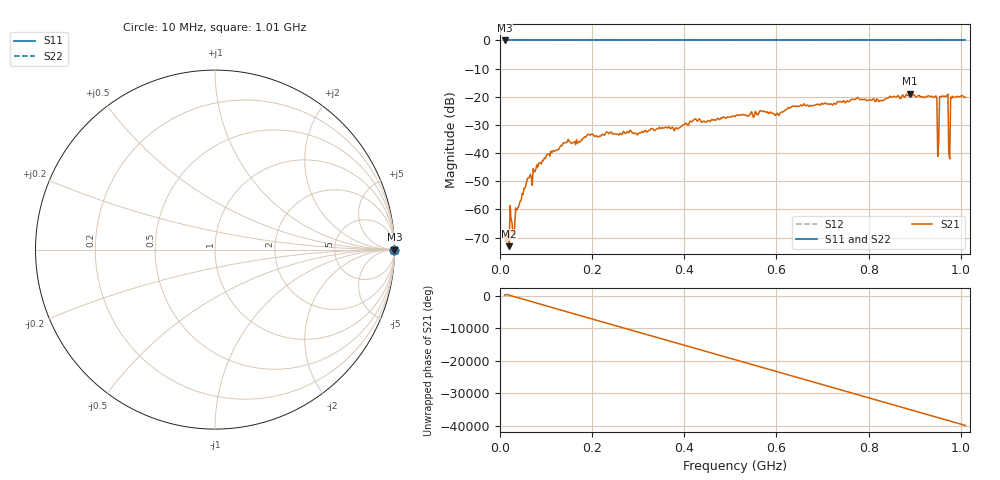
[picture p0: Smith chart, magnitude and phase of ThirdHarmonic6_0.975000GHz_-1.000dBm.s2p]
! 8/16/2025 7:28:07 AM
! C:\ANRITSUVNA\TEMP\TEMP.S2P
! CHANNEL.1
! TR.MEASUREMENT
! RAW.DATA
! RF.CORRECTION.OFF
! AVERAGING.OFF
! IF.BANDWIDTH: 5KHZ
! SWEEPTYPE:  FREQ.SWEEP(Linear)
! Reference Plane Port Info
! PORT:  PORT1  PORT2
! DISTANCE:  0  m  0  m
! TIME:  0  s  0  s
! PHASE.OFFSET:  0  deg.  0  deg.
! LOSS:  0  dB  0  dB
! REF.LOSS:  0  dB  0  dB
! REF.FREQ:  0  Hz  0  Hz
! Power Info
! POWER:  -20  dBm  -20  dBm
! EFF.POWER:  -20  dBm  -20  dBm
! SOURCE.ATTEN:  0  dB  0  dB
! TEST.ATTEN:  0  dB  0  dB
# GHZ S RI R 50.0
! FREQ.GHZ  S11RE  S11IM  S21RE  S21IM  S12RE  S12IM  S22RE  S22IM
!; PortSelection: Port_12
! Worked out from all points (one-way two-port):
!   501 points, 10 MHz to 1.01 GHz, reference 50 ohm
!   highest |S21| = -18.93 dB at 890 MHz (marker M1); lowest = -73.1 dB at 20 MHz (marker M2)
!   lowest |S11| = 0.0 dB at 10 MHz (marker M3)
!   |S11| at or under -10 dB: nowhere
!   |S22| runs from 0.0 to 0.0 dB; largest |S21 - S12| = 1.1
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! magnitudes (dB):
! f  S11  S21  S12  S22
! 10 MHz  0.0  -68.0  0.0  0.0
! 16 MHz  0.0  -69.5  0.0  0.0
! 20 MHz  0.0  -73.1  0.0  0.0
! 30 MHz  0.0  -69.0  0.0  0.0
! 62 MHz  0.0  -48.9  0.0  0.0
! 84 MHz  0.0  -43.6  0.0  0.0
! 178 MHz  0.0  -35.1  0.0  0.0
! 344 MHz  0.0  -31.2  0.0  0.0
! 510 MHz  0.0  -27.1  0.0  0.0
! 678 MHz  0.0  -23.2  0.0  0.0
! 844 MHz  0.0  -20.3  0.0  0.0
! 890 MHz  0.0  -18.9  0.0  0.0
! 944 MHz  0.0  -19.9  0.0  0.0
! 948 MHz  0.0  -20.4  0.0  0.0
! 952 MHz  0.0  -36.6  0.0  0.0
! 954 MHz  0.0  -19.9  0.0  0.0
! 958 MHz  0.0  -20.0  0.0  0.0
! 968 MHz  0.0  -19.8  0.0  0.0
! 972 MHz  0.0  -19.1  0.0  0.0
! 978 MHz  0.0  -20.1  0.0  0.0
! 982 MHz  0.0  -19.8  0.0  0.0
! 1.01 GHz  0.0  -20.2  0.0  0.0
